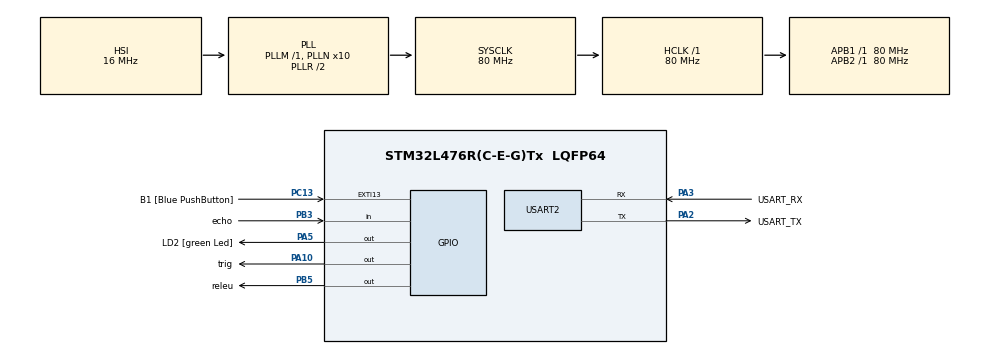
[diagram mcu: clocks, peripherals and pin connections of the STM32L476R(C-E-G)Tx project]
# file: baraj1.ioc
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Mcu.Family=STM32L4
Mcu.Name=STM32L476R(C-E-G)Tx
Mcu.Package=LQFP64
NVIC.PriorityGroup=NVIC_PRIORITYGROUP_4
PA10.GPIO_Label=trig
PA10.Signal=GPIO_Output
PA13\ (JTMS-SWDIO).GPIO_Label=TMS
PA13\ (JTMS-SWDIO).Mode=Serial_Wire
PA13\ (JTMS-SWDIO).Signal=SYS_JTMS-SWDIO
PA14\ (JTCK-SWCLK).GPIO_Label=TCK
PA14\ (JTCK-SWCLK).Mode=Serial_Wire
PA14\ (JTCK-SWCLK).Signal=SYS_JTCK-SWCLK
PA2.GPIO_Label=USART_TX
PA2.GPIO_Mode=GPIO_MODE_AF_PP
PA2.GPIO_PuPd=GPIO_NOPULL
PA2.GPIO_Speed=GPIO_SPEED_FREQ_VERY_HIGH
PA2.Mode=Asynchronous
PA2.Signal=USART2_TX
PA3.GPIO_Label=USART_RX
PA3.GPIO_Mode=GPIO_MODE_AF_PP
PA3.GPIO_PuPd=GPIO_NOPULL
PA3.GPIO_Speed=GPIO_SPEED_FREQ_VERY_HIGH
PA3.Mode=Asynchronous
PA3.Signal=USART2_RX
PA5.GPIO_Label=LD2 [green Led]
PA5.GPIO_ModeDefaultOutputPP=GPIO_MODE_OUTPUT_PP
PA5.GPIO_PuPd=GPIO_NOPULL
PA5.GPIO_Speed=GPIO_SPEED_FREQ_LOW
PA5.Signal=GPIO_Output
PB3\ (JTDO-TRACESWO).GPIO_Label=echo
PB3\ (JTDO-TRACESWO).Signal=GPIO_Input
PB5.GPIO_Label=releu
PB5.GPIO_ModeDefaultOutputPP=GPIO_MODE_OUTPUT_OD
PB5.GPIO_PuPd=GPIO_NOPULL
PB5.PinState=GPIO_PIN_SET
PB5.Signal=GPIO_Output
PC13.GPIO_Label=B1 [Blue PushButton]
PC13.GPIO_ModeDefaultEXTI=GPIO_MODE_IT_FALLING
PC13.GPIO_PuPd=GPIO_NOPULL
PC13.Signal=GPXTI13
PC14-OSC32_IN\ (PC14).Signal=RCC_OSC32_IN
PC15-OSC32_OUT\ (PC15).Signal=RCC_OSC32_OUT
PH0-OSC_IN\ (PH0).Signal=RCC_OSC_IN
PH1-OSC_OUT\ (PH1).Signal=RCC_OSC_OUT
ProjectManager.HeapSize=0x200
ProjectManager.StackSize=0x400
ProjectManager.TargetToolchain=STM32CubeIDE
RCC.ADCFreq_Value=64000000
RCC.AHBFreq_Value=80000000
RCC.APB1Freq_Value=80000000
RCC.APB1TimFreq_Value=80000000
RCC.APB2Freq_Value=80000000
RCC.APB2TimFreq_Value=80000000
RCC.CortexFreq_Value=80000000
RCC.HCLKFreq_Value=80000000
RCC.HSE_VALUE=8000000
RCC.HSI_VALUE=16000000
RCC.MSI_VALUE=4000000
RCC.PLLN=10
RCC.PLLSourceVirtual=RCC_PLLSOURCE_HSI
RCC.PREFETCH_ENABLE=1
RCC.SYSCLKFreq_VALUE=80000000
RCC.SYSCLKSource=RCC_SYSCLKSOURCE_PLLCLK
RCC.USBFreq_Value=64000000
RCC.VCOOutputFreq_Value=160000000
USART2.VirtualMode-Asynchronous=VM_ASYNC
board=NUCLEO-L476RG

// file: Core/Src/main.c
/* USER CODE BEGIN Header */
/**
  ******************************************************************************
  * @file           : main.c
  * @brief          : Main program body
  ******************************************************************************
  */
/* USER CODE END Header */
#include "main.h"

UART_HandleTypeDef huart2;

void SystemClock_Config(void);
static void MX_GPIO_Init(void);
static void MX_USART2_UART_Init(void);

/* USER CODE BEGIN 0 */
int distanta = 0;
uint32_t moment_start_pompa = 0;
uint8_t pompa_este_pornita = 0;

void delay_us (uint32_t us)
{
	uint32_t us_count_tic =  us * (SystemCoreClock / 1000000U);
	DWT->CYCCNT = 0U;
	while(DWT->CYCCNT < us_count_tic);
}

int masoara_distanta_simpla() {
	uint32_t pMillis;
	uint32_t val1 = 0;
	uint32_t val2 = 0;

	HAL_GPIO_WritePin(trig_GPIO_Port, trig_Pin, GPIO_PIN_RESET);
	delay_us(3);
	HAL_GPIO_WritePin(trig_GPIO_Port, trig_Pin, GPIO_PIN_SET);
	delay_us(10);
	HAL_GPIO_WritePin(trig_GPIO_Port, trig_Pin, GPIO_PIN_RESET);

	pMillis = HAL_GetTick();
	while (!(HAL_GPIO_ReadPin(echo_GPIO_Port, echo_Pin))) {
		if (HAL_GetTick() - pMillis > 5) return 0;
	}
	val1 = DWT->CYCCNT;

	pMillis = HAL_GetTick();
	while ((HAL_GPIO_ReadPin(echo_GPIO_Port, echo_Pin))) {
		if (HAL_GetTick() - pMillis > 50) return 0;
	}
	val2 = DWT->CYCCNT;

	uint32_t cycles = val2 - val1;
	uint32_t microseconds = cycles / (SystemCoreClock / 1000000U);
	return microseconds * 0.034 / 2;
}

int masoara_media() {
	long suma = 0;
	int citiri_valide = 0;

	for (int i = 0; i < 5; i++) {
		int d = masoara_distanta_simpla();
		if (d > 0 && d < 400) {
			suma += d;
			citiri_valide++;
		}
		HAL_Delay(10);
	}

	if (citiri_valide == 0) return 0;
	return (int)(suma / citiri_valide);
}
/* USER CODE END 0 */

int main(void)
{
  HAL_Init();
  SystemClock_Config();
  MX_GPIO_Init();
  MX_USART2_UART_Init();

  /* USER CODE BEGIN 2 */
  CoreDebug->DEMCR |= CoreDebug_DEMCR_TRCENA_Msk;
  DWT->CYCCNT = 0;
  DWT->CTRL |= DWT_CTRL_CYCCNTENA_Msk;
  /* USER CODE END 2 */

  /* Infinite loop */
  while (1)
  {
	  /* USER CODE BEGIN 3 */

	  HAL_GPIO_TogglePin(LD2_GPIO_Port, LD2_Pin);

	  distanta = masoara_media();

	  if (pompa_este_pornita == 1) {
		  if (HAL_GetTick() - moment_start_pompa > 5000) {
			  HAL_GPIO_WritePin(releu_GPIO_Port, releu_Pin, GPIO_PIN_SET);
			  pompa_este_pornita = 0;
			  HAL_Delay(3000);
			  continue;
		  }
	  }

	  if (distanta > 0 && distanta < 4)
	  {
		  HAL_GPIO_WritePin(releu_GPIO_Port, releu_Pin, GPIO_PIN_RESET);

		  if (pompa_este_pornita == 0) {
			  moment_start_pompa = HAL_GetTick();
			  pompa_este_pornita = 1;
		  }
	  }
	  else if (distanta > 5 || distanta == 0)
	  {
		  HAL_GPIO_WritePin(releu_GPIO_Port, releu_Pin, GPIO_PIN_SET);
		  pompa_este_pornita = 0;
	  }

	  HAL_Delay(50);
  }
  /* USER CODE END 3 */
}

void SystemClock_Config(void)
{
  RCC_OscInitTypeDef RCC_OscInitStruct = {0};
  RCC_ClkInitTypeDef RCC_ClkInitStruct = {0};
  if (HAL_PWREx_ControlVoltageScaling(PWR_REGULATOR_VOLTAGE_SCALE1) != HAL_OK) { Error_Handler(); }
  RCC_OscInitStruct.OscillatorType = RCC_OSCILLATORTYPE_HSI;
  RCC_OscInitStruct.HSIState = RCC_HSI_ON;
  RCC_OscInitStruct.HSICalibrationValue = RCC_HSICALIBRATION_DEFAULT;
  RCC_OscInitStruct.PLL.PLLState = RCC_PLL_ON;
  RCC_OscInitStruct.PLL.PLLSource = RCC_PLLSOURCE_HSI;
  RCC_OscInitStruct.PLL.PLLM = 1;
  RCC_OscInitStruct.PLL.PLLN = 10;
  RCC_OscInitStruct.PLL.PLLP = RCC_PLLP_DIV7;
  RCC_OscInitStruct.PLL.PLLQ = RCC_PLLQ_DIV2;
  RCC_OscInitStruct.PLL.PLLR = RCC_PLLR_DIV2;
  if (HAL_RCC_OscConfig(&RCC_OscInitStruct) != HAL_OK) { Error_Handler(); }
  RCC_ClkInitStruct.ClockType = RCC_CLOCKTYPE_HCLK|RCC_CLOCKTYPE_SYSCLK|RCC_CLOCKTYPE_PCLK1|RCC_CLOCKTYPE_PCLK2;
  RCC_ClkInitStruct.SYSCLKSource = RCC_SYSCLKSOURCE_PLLCLK;
  RCC_ClkInitStruct.AHBCLKDivider = RCC_SYSCLK_DIV1;
  RCC_ClkInitStruct.APB1CLKDivider = RCC_HCLK_DIV1;
  RCC_ClkInitStruct.APB2CLKDivider = RCC_HCLK_DIV1;
  if (HAL_RCC_ClockConfig(&RCC_ClkInitStruct, FLASH_LATENCY_4) != HAL_OK) { Error_Handler(); }
}

static void MX_USART2_UART_Init(void)
{
  huart2.Instance = USART2;
  huart2.Init.BaudRate = 115200;
  huart2.Init.WordLength = UART_WORDLENGTH_8B;
  huart2.Init.StopBits = UART_STOPBITS_1;
  huart2.Init.Parity = UART_PARITY_NONE;
  huart2.Init.Mode = UART_MODE_TX_RX;
  huart2.Init.HwFlowCtl = UART_HWCONTROL_NONE;
  huart2.Init.OverSampling = UART_OVERSAMPLING_16;
  huart2.Init.OneBitSampling = UART_ONE_BIT_SAMPLE_DISABLE;
  huart2.AdvancedInit.AdvFeatureInit = UART_ADVFEATURE_NO_INIT;
  if (HAL_UART_Init(&huart2) != HAL_OK) { Error_Handler(); }
}

static void MX_GPIO_Init(void)
{
  GPIO_InitTypeDef GPIO_InitStruct = {0};
  __HAL_RCC_GPIOC_CLK_ENABLE();
  __HAL_RCC_GPIOH_CLK_ENABLE();
  __HAL_RCC_GPIOA_CLK_ENABLE();
  __HAL_RCC_GPIOB_CLK_ENABLE();

  HAL_GPIO_WritePin(GPIOA, LD2_Pin|trig_Pin, GPIO_PIN_RESET);
  HAL_GPIO_WritePin(releu_GPIO_Port, releu_Pin, GPIO_PIN_SET);

  GPIO_InitStruct.Pin = B1_Pin;
  GPIO_InitStruct.Mode = GPIO_MODE_IT_FALLING;
  GPIO_InitStruct.Pull = GPIO_NOPULL;
  HAL_GPIO_Init(B1_GPIO_Port, &GPIO_InitStruct);

  GPIO_InitStruct.Pin = LD2_Pin|trig_Pin;
  GPIO_InitStruct.Mode = GPIO_MODE_OUTPUT_PP;
  GPIO_InitStruct.Pull = GPIO_NOPULL;
  GPIO_InitStruct.Speed = GPIO_SPEED_FREQ_LOW;
  HAL_GPIO_Init(GPIOA, &GPIO_InitStruct);

  GPIO_InitStruct.Pin = echo_Pin;
  GPIO_InitStruct.Mode = GPIO_MODE_INPUT;
  GPIO_InitStruct.Pull = GPIO_NOPULL;
  HAL_GPIO_Init(echo_GPIO_Port, &GPIO_InitStruct);

  GPIO_InitStruct.Pin = releu_Pin;
  GPIO_InitStruct.Mode = GPIO_MODE_OUTPUT_OD;
  GPIO_InitStruct.Pull = GPIO_NOPULL;
  GPIO_InitStruct.Speed = GPIO_SPEED_FREQ_LOW;
  HAL_GPIO_Init(releu_GPIO_Port, &GPIO_InitStruct);
}

void Error_Handler(void)
{
  __disable_irq();
  while (1) {}
}
